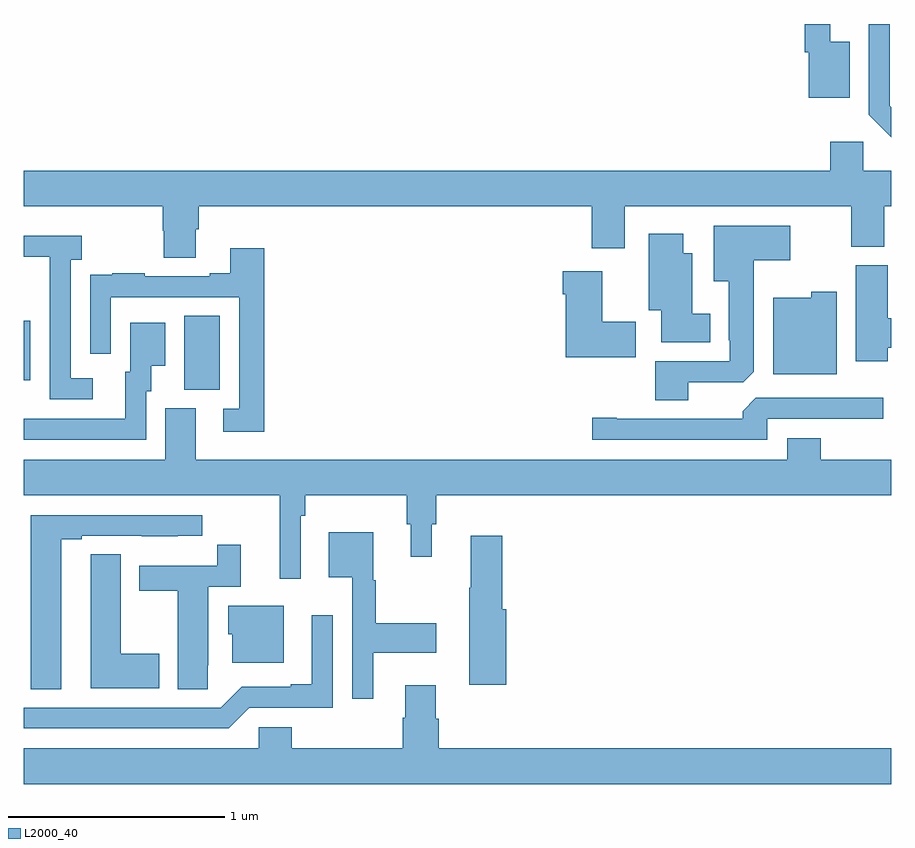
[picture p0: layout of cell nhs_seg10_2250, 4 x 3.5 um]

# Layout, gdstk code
import gdstk
lib = gdstk.Library(unit=1e-6, precision=1e-09)
def R(c, l, rs):  # rectangles x0, y0, x1, y1
    for r in rs: c.add(gdstk.rectangle(r[:2], r[2:], *l))
def P(c, l, *ps):  # polygons
    for p in ps: c.add(gdstk.Polygon(p, *l))
L2000_40 = (2000, 40)

nhs_seg10_2250 = lib.new_cell('nhs_seg10_2250')
R(nhs_seg10_2250, L2000_40, [(231.74,1288.813,231.904,1289.156), (231,1288.857,231.031,1289.131)])
P(nhs_seg10_2250, L2000_40, [(234.808,1290.418),(234.719,1290.418),(234.719,1290.5),(234.601,1290.5),(234.601,1290.369),(234.62,1290.369),(234.62,1290.161),(234.808,1290.161)],
  [(235,1290.116),(234.993,1290.123),(234.993,1290.5),(234.897,1290.5),(234.897,1290.081),(235,1289.978)],
  [(231,1289.66),(231.641,1289.66),(231.641,1289.547),(231.646,1289.547),(231.646,1289.422),(231.793,1289.422),(231.793,1289.554),(231.806,1289.554),(231.806,1289.66),(233.618,1289.66),(233.618,1289.466),(233.77,1289.466),(233.77,1289.66),(234.815,1289.66),(234.815,1289.473),(234.968,1289.473),(234.968,1289.66),(235,1289.66),(235,1289.824),(234.87,1289.824),(234.87,1289.956),(234.719,1289.956),(234.719,1289.824),(231,1289.824)],
  [(234.064,1288.848),(234.318,1288.848),(234.367,1288.897),(234.367,1289.411),(234.535,1289.411),(234.535,1289.569),(234.182,1289.569),(234.182,1289.315),(234.251,1289.315),(234.251,1289.041),(234.255,1289.041),(234.255,1288.944),(233.912,1288.944),(233.912,1288.765),(234.064,1288.765)],
  [(234.166,1289.164),(234.082,1289.164),(234.082,1289.443),(234.04,1289.443),(234.04,1289.533),(233.882,1289.533),(233.882,1289.18),(233.939,1289.18),(233.939,1289.033),(234.166,1289.033)],
  [(231.319,1288.866),(231.216,1288.866),(231.216,1289.414),(231.268,1289.414),(231.268,1289.524),(231,1289.524),(231,1289.427),(231.119,1289.427),(231.119,1289.227),(231.12,1289.227),(231.12,1288.77),(231.319,1288.77)],
  [(232.109,1289.467),(231.953,1289.467),(231.953,1289.35),(231.857,1289.35),(231.857,1289.337),(231.557,1289.337),(231.557,1289.35),(231.409,1289.35),(231.409,1289.343),(231.307,1289.343),(231.307,1289.234),(231.306,1289.234),(231.306,1288.98),(231.402,1288.98),(231.402,1289.241),(231.993,1289.241),(231.993,1288.725),(231.921,1288.725),(231.921,1288.62),(232.109,1288.62)],
  [(234.983,1289.008),(235,1289.008),(235,1289.144),(234.983,1289.144),(234.983,1289.388),(234.836,1289.388),(234.836,1288.944),(234.983,1288.944)],
  [(233.821,1289.127),(233.668,1289.127),(233.668,1289.359),(233.486,1289.359),(233.486,1289.255),(233.498,1289.255),(233.498,1288.964),(233.821,1288.964)],
  [(234.748,1289.266),(234.63,1289.266),(234.63,1289.239),(234.455,1289.239),(234.455,1288.886),(234.748,1288.886)],
  [(231.564,1288.806),(231.589,1288.806),(231.589,1288.925),(231.652,1288.925),(231.652,1289.122),(231.491,1289.122),(231.491,1288.896),(231.467,1288.896),(231.467,1288.68),(231,1288.68),(231,1288.584),(231.564,1288.584)],
  [(234.429,1288.68),(234.964,1288.68),(234.964,1288.776),(234.375,1288.776),(234.314,1288.714),(234.314,1288.68),(233.734,1288.68),(233.734,1288.685),(233.622,1288.685),(233.622,1288.584),(234.429,1288.584)],
  [(232.278,1288.232),(232.298,1288.232),(232.298,1288.328),(232.765,1288.328),(232.765,1288.194),(232.784,1288.194),(232.784,1288.044),(232.882,1288.044),(232.882,1288.194),(232.901,1288.194),(232.901,1288.328),(235,1288.328),(235,1288.492),(234.674,1288.492),(234.674,1288.591),(234.521,1288.591),(234.521,1288.492),(231.793,1288.492),(231.793,1288.728),(231.653,1288.728),(231.653,1288.492),(231,1288.492),(231,1288.328),(232.181,1288.328),(232.181,1287.942),(232.278,1287.942)],
  [(231.172,1288.125),(231.268,1288.125),(231.268,1288.14),(231.544,1288.14),(231.544,1288.139),(231.71,1288.139),(231.71,1288.14),(231.823,1288.14),(231.823,1288.236),(231.032,1288.236),(231.032,1287.433),(231.172,1287.433)],
  [(232.612,1287.602),(232.903,1287.602),(232.903,1287.737),(232.624,1287.737),(232.624,1287.936),(232.612,1287.936),(232.612,1288.156),(232.406,1288.156),(232.406,1287.95),(232.515,1287.95),(232.515,1287.39),(232.612,1287.39)],
  [(233.225,1287.801),(233.207,1287.801),(233.207,1288.141),(233.06,1288.141),(233.06,1287.901),(233.054,1287.901),(233.054,1287.453),(233.225,1287.453)],
  [(231.849,1287.544),(231.85,1287.544),(231.85,1287.906),(232.001,1287.906),(232.001,1288.099),(231.892,1288.099),(231.892,1288.002),(231.533,1288.002),(231.533,1287.886),(231.71,1287.886),(231.71,1287.433),(231.849,1287.433)],
  [(231.625,1287.597),(231.448,1287.597),(231.448,1288.055),(231.309,1288.055),(231.309,1287.947),(231.308,1287.947),(231.308,1287.437),(231.625,1287.437)],
  [(232.198,1287.817),(231.944,1287.817),(231.944,1287.687),(231.962,1287.687),(231.962,1287.554),(232.198,1287.554)],
  [(232.041,1287.348),(232.425,1287.348),(232.425,1287.775),(232.328,1287.775),(232.328,1287.457),(232.232,1287.457),(232.232,1287.444),(232.005,1287.444),(231.909,1287.348),(231,1287.348),(231,1287.252),(231.945,1287.252)],
  [(235,1287.16),(232.913,1287.16),(232.913,1287.297),(232.9,1287.297),(232.9,1287.451),(232.76,1287.451),(232.76,1287.302),(232.748,1287.302),(232.748,1287.16),(232.235,1287.16),(232.235,1287.258),(232.083,1287.258),(232.083,1287.16),(231,1287.16),(231,1286.996),(235,1286.996)])

lib.write_gds('nhs_seg10_2250.gds')
